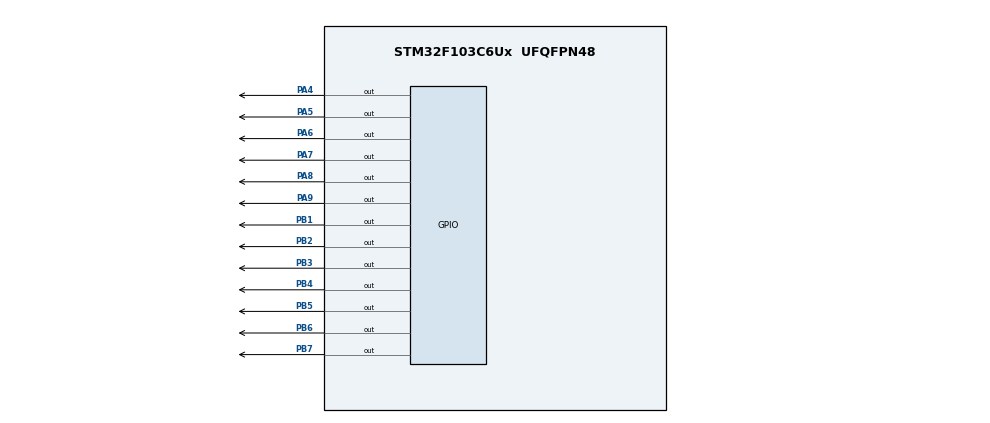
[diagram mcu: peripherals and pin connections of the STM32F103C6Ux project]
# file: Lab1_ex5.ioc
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Mcu.Family=STM32F1
Mcu.Name=STM32F103C6Ux
Mcu.Package=UFQFPN48
NVIC.PriorityGroup=NVIC_PRIORITYGROUP_4
PA4.Signal=GPIO_Output
PA5.Signal=GPIO_Output
PA6.Signal=GPIO_Output
PA7.Signal=GPIO_Output
PA8.Signal=GPIO_Output
PA9.Signal=GPIO_Output
PB1.Signal=GPIO_Output
PB2.Signal=GPIO_Output
PB3.Signal=GPIO_Output
PB4.Signal=GPIO_Output
PB5.Signal=GPIO_Output
PB6.Signal=GPIO_Output
PB7.Signal=GPIO_Output
ProjectManager.HeapSize=0x200
ProjectManager.StackSize=0x400
ProjectManager.TargetToolchain=STM32CubeIDE
RCC.APB1Freq_Value=8000000
RCC.APB2Freq_Value=8000000
VP_SYS_VS_ND.Mode=No_Debug
board=custom

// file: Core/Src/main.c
/* USER CODE BEGIN Header */
/**
  ******************************************************************************
  * @file           : main.c
  * @brief          : Main program body
  ******************************************************************************
  * @attention
  *
  * <h2><center>&copy; Copyright (c) 2022 STMicroelectronics.
  * All rights reserved.</center></h2>
  *
  * This software component is licensed by ST under BSD 3-Clause license,
  * the "License"; You may not use this file except in compliance with the
  * License. You may obtain a copy of the License at:
  *                        opensource.org/licenses/BSD-3-Clause
  *
  ******************************************************************************
  */
/* USER CODE END Header */
#include "main.h"

void SystemClock_Config(void);
static void MX_GPIO_Init(void);

int main(void)
{

  /* MCU Configuration--------------------------------------------------------*/

  /* Reset of all peripherals, Initializes the Flash interface and the Systick. */
  HAL_Init();

  /* Configure the system clock */
  SystemClock_Config();

  /* Initialize all configured peripherals */
  MX_GPIO_Init();

  /* Infinite loop */
  while (1)
  {
	  HAL_GPIO_WritePin (GPIOA , GPIO_PIN_4, GPIO_PIN_RESET );
      HAL_GPIO_WritePin (GPIOA , GPIO_PIN_5, GPIO_PIN_SET );
      HAL_GPIO_WritePin (GPIOA , GPIO_PIN_6 , GPIO_PIN_SET );

   	  HAL_GPIO_WritePin (GPIOA , GPIO_PIN_7, GPIO_PIN_SET );
	  HAL_GPIO_WritePin (GPIOA , GPIO_PIN_8, GPIO_PIN_SET );
	  HAL_GPIO_WritePin (GPIOA , GPIO_PIN_9 , GPIO_PIN_RESET );
		 display7SEG(5);
		  	HAL_Delay(1000);
	     display7SEG(4);
			 HAL_Delay(1000);
		 display7SEG(3);
			HAL_Delay(1000);

	  HAL_GPIO_WritePin (GPIOA , GPIO_PIN_4, GPIO_PIN_RESET );
	  HAL_GPIO_WritePin (GPIOA , GPIO_PIN_5, GPIO_PIN_SET );
	  HAL_GPIO_WritePin (GPIOA , GPIO_PIN_6 , GPIO_PIN_SET );
	  HAL_GPIO_WritePin (GPIOA , GPIO_PIN_7, GPIO_PIN_SET );
	  HAL_GPIO_WritePin (GPIOA , GPIO_PIN_8, GPIO_PIN_RESET );
	  HAL_GPIO_WritePin (GPIOA , GPIO_PIN_9 , GPIO_PIN_SET );
		  	display7SEG(2);
		  	HAL_Delay(1000);
	        display7SEG(1);
	        HAL_Delay(1000);
		  		 	 	//
	  HAL_GPIO_WritePin (GPIOA , GPIO_PIN_7, GPIO_PIN_RESET );
      HAL_GPIO_WritePin (GPIOA , GPIO_PIN_8, GPIO_PIN_SET );
	  HAL_GPIO_WritePin (GPIOA , GPIO_PIN_9 , GPIO_PIN_SET );
	  HAL_GPIO_WritePin (GPIOA , GPIO_PIN_4 , GPIO_PIN_SET );
	  HAL_GPIO_WritePin (GPIOA , GPIO_PIN_5 , GPIO_PIN_SET );
	  HAL_GPIO_WritePin (GPIOA , GPIO_PIN_6 , GPIO_PIN_RESET );
	  	  	 display7SEG(5);
	  	  	HAL_Delay(1000);
	  	  	 display7SEG(4);
		  	HAL_Delay(1000);
			 display7SEG(3);
		  	HAL_Delay(1000);
  	  HAL_GPIO_WritePin (GPIOA , GPIO_PIN_7, GPIO_PIN_RESET );
	  HAL_GPIO_WritePin (GPIOA , GPIO_PIN_8, GPIO_PIN_SET );
	  HAL_GPIO_WritePin (GPIOA , GPIO_PIN_9 , GPIO_PIN_SET );
	  HAL_GPIO_WritePin (GPIOA , GPIO_PIN_4 , GPIO_PIN_SET );
	  HAL_GPIO_WritePin (GPIOA , GPIO_PIN_5 , GPIO_PIN_RESET );
	  HAL_GPIO_WritePin (GPIOA , GPIO_PIN_6 , GPIO_PIN_SET );
	  	  	display7SEG(2);
	  		HAL_Delay(1000);
		 	display7SEG(1);
			HAL_Delay(1000);

  }
}

void SystemClock_Config(void)
{
  RCC_OscInitTypeDef RCC_OscInitStruct = {0};
  RCC_ClkInitTypeDef RCC_ClkInitStruct = {0};

  /** Initializes the RCC Oscillators according to the specified parameters
  * in the RCC_OscInitTypeDef structure.
  */
  RCC_OscInitStruct.OscillatorType = RCC_OSCILLATORTYPE_HSI;
  RCC_OscInitStruct.HSIState = RCC_HSI_ON;
  RCC_OscInitStruct.HSICalibrationValue = RCC_HSICALIBRATION_DEFAULT;
  RCC_OscInitStruct.PLL.PLLState = RCC_PLL_NONE;
  if (HAL_RCC_OscConfig(&RCC_OscInitStruct) != HAL_OK)
  {
    Error_Handler();
  }
  /** Initializes the CPU, AHB and APB buses clocks
  */
  RCC_ClkInitStruct.ClockType = RCC_CLOCKTYPE_HCLK|RCC_CLOCKTYPE_SYSCLK
                              |RCC_CLOCKTYPE_PCLK1|RCC_CLOCKTYPE_PCLK2;
  RCC_ClkInitStruct.SYSCLKSource = RCC_SYSCLKSOURCE_HSI;
  RCC_ClkInitStruct.AHBCLKDivider = RCC_SYSCLK_DIV1;
  RCC_ClkInitStruct.APB1CLKDivider = RCC_HCLK_DIV1;
  RCC_ClkInitStruct.APB2CLKDivider = RCC_HCLK_DIV1;

  if (HAL_RCC_ClockConfig(&RCC_ClkInitStruct, FLASH_LATENCY_0) != HAL_OK)
  {
    Error_Handler();
  }
}

static void MX_GPIO_Init(void)
{
  GPIO_InitTypeDef GPIO_InitStruct = {0};

  /* GPIO Ports Clock Enable */
  __HAL_RCC_GPIOA_CLK_ENABLE();
  __HAL_RCC_GPIOB_CLK_ENABLE();

  /*Configure GPIO pin Output Level */
  HAL_GPIO_WritePin(GPIOA, GPIO_PIN_4|GPIO_PIN_5|GPIO_PIN_6|GPIO_PIN_7
                          |GPIO_PIN_8|GPIO_PIN_9, GPIO_PIN_RESET);

  /*Configure GPIO pin Output Level */
  HAL_GPIO_WritePin(GPIOB, GPIO_PIN_1|GPIO_PIN_2|GPIO_PIN_3|GPIO_PIN_4
                          |GPIO_PIN_5|GPIO_PIN_6|GPIO_PIN_7, GPIO_PIN_RESET);

  /*Configure GPIO pins : PA4 PA5 PA6 PA7
                           PA8 PA9 */
  GPIO_InitStruct.Pin = GPIO_PIN_4|GPIO_PIN_5|GPIO_PIN_6|GPIO_PIN_7
                          |GPIO_PIN_8|GPIO_PIN_9;
  GPIO_InitStruct.Mode = GPIO_MODE_OUTPUT_PP;
  GPIO_InitStruct.Pull = GPIO_NOPULL;
  GPIO_InitStruct.Speed = GPIO_SPEED_FREQ_LOW;
  HAL_GPIO_Init(GPIOA, &GPIO_InitStruct);

  /*Configure GPIO pins : PB1 PB2 PB3 PB4
                           PB5 PB6 PB7 */
  GPIO_InitStruct.Pin = GPIO_PIN_1|GPIO_PIN_2|GPIO_PIN_3|GPIO_PIN_4
                          |GPIO_PIN_5|GPIO_PIN_6|GPIO_PIN_7;
  GPIO_InitStruct.Mode = GPIO_MODE_OUTPUT_PP;
  GPIO_InitStruct.Pull = GPIO_NOPULL;
  GPIO_InitStruct.Speed = GPIO_SPEED_FREQ_LOW;
  HAL_GPIO_Init(GPIOB, &GPIO_InitStruct);

}

/* USER CODE BEGIN 4 */
void display7SEG (int num){
	switch (num){
	case 0 : {
		 HAL_GPIO_WritePin (GPIOB , GPIO_PIN_1 , GPIO_PIN_RESET );
			  	  HAL_GPIO_WritePin (GPIOB , GPIO_PIN_2 , GPIO_PIN_RESET );
			  	  HAL_GPIO_WritePin (GPIOB , GPIO_PIN_3 , GPIO_PIN_RESET );
			  	  HAL_GPIO_WritePin (GPIOB , GPIO_PIN_4 , GPIO_PIN_RESET );
			  	  HAL_GPIO_WritePin (GPIOB , GPIO_PIN_5 , GPIO_PIN_RESET );
			  	  HAL_GPIO_WritePin (GPIOB , GPIO_PIN_6 , GPIO_PIN_RESET );
			  	  HAL_GPIO_WritePin (GPIOB , GPIO_PIN_7 , GPIO_PIN_SET );
			  	  HAL_Delay(1000);
		break;
	}
	case 1 :{
		  HAL_GPIO_WritePin (GPIOB, GPIO_PIN_1 , GPIO_PIN_SET );
			  	 HAL_GPIO_WritePin (GPIOB , GPIO_PIN_2 , GPIO_PIN_RESET );
			  	 HAL_GPIO_WritePin (GPIOB , GPIO_PIN_3 , GPIO_PIN_RESET );
			  	 HAL_GPIO_WritePin (GPIOB , GPIO_PIN_4 , GPIO_PIN_SET );
			  	 HAL_GPIO_WritePin (GPIOB , GPIO_PIN_5 , GPIO_PIN_SET );
			  	 HAL_GPIO_WritePin (GPIOB , GPIO_PIN_6 , GPIO_PIN_SET );
			  	 HAL_GPIO_WritePin (GPIOB , GPIO_PIN_7 , GPIO_PIN_SET );
			  	 HAL_Delay(1000);
		break;
	}
	case 2  :{ HAL_GPIO_WritePin (GPIOB , GPIO_PIN_1 , GPIO_PIN_RESET );
	  	 HAL_GPIO_WritePin (GPIOB , GPIO_PIN_2 , GPIO_PIN_RESET );
	  	 HAL_GPIO_WritePin (GPIOB , GPIO_PIN_3 , GPIO_PIN_SET );
	  	 HAL_GPIO_WritePin (GPIOB , GPIO_PIN_4 , GPIO_PIN_RESET );
	  	 HAL_GPIO_WritePin (GPIOB , GPIO_PIN_5 , GPIO_PIN_RESET );
	  	 HAL_GPIO_WritePin (GPIOB , GPIO_PIN_6 , GPIO_PIN_SET );
	  	 HAL_GPIO_WritePin (GPIOB , GPIO_PIN_7 , GPIO_PIN_RESET );
	  	 HAL_Delay(1000);
		break;}
	case 3 :{
		 HAL_GPIO_WritePin (GPIOB , GPIO_PIN_1 , GPIO_PIN_RESET );
		  	  	 	 HAL_GPIO_WritePin (GPIOB , GPIO_PIN_2 , GPIO_PIN_RESET );
		  	  	 	 HAL_GPIO_WritePin (GPIOB , GPIO_PIN_3 , GPIO_PIN_RESET );
		  	  	 	 HAL_GPIO_WritePin (GPIOB , GPIO_PIN_4 , GPIO_PIN_RESET );
		  	  	 	 HAL_GPIO_WritePin (GPIOB , GPIO_PIN_5 , GPIO_PIN_SET );
		  	  	 	 HAL_GPIO_WritePin (GPIOB , GPIO_PIN_6 , GPIO_PIN_SET );
		  	  	 	 HAL_GPIO_WritePin (GPIOB , GPIO_PIN_7 , GPIO_PIN_RESET );
		  	  	 	 HAL_Delay(1000);
		break;}
	case 4  :{
		HAL_GPIO_WritePin (GPIOB , GPIO_PIN_1 , GPIO_PIN_SET );
			  	  	 		 	 HAL_GPIO_WritePin (GPIOB , GPIO_PIN_2 , GPIO_PIN_RESET );
			  	  	 		 	 HAL_GPIO_WritePin (GPIOB , GPIO_PIN_3 , GPIO_PIN_RESET );
			  	  	 		 	 HAL_GPIO_WritePin (GPIOB , GPIO_PIN_4 , GPIO_PIN_SET );
			  	  	 		 	 HAL_GPIO_WritePin (GPIOB , GPIO_PIN_5 , GPIO_PIN_SET );
			  	  	 		 	 HAL_GPIO_WritePin (GPIOB , GPIO_PIN_6 , GPIO_PIN_RESET );
			  	  	 		 	 HAL_GPIO_WritePin (GPIOB , GPIO_PIN_7 , GPIO_PIN_RESET );
			  	  	 	HAL_Delay(1000);
		break;}
	case 5  :{
		 HAL_GPIO_WritePin (GPIOB , GPIO_PIN_1 , GPIO_PIN_RESET );
			  	  		 		 	 HAL_GPIO_WritePin (GPIOB , GPIO_PIN_2 , GPIO_PIN_SET );
			  	  		 		 	 HAL_GPIO_WritePin (GPIOB , GPIO_PIN_3 , GPIO_PIN_RESET );
			  	  		 		 	 HAL_GPIO_WritePin (GPIOB , GPIO_PIN_4 , GPIO_PIN_RESET );
			  	  		 		 	 HAL_GPIO_WritePin (GPIOB , GPIO_PIN_5 , GPIO_PIN_SET );
			  	  		 		 	 HAL_GPIO_WritePin (GPIOB , GPIO_PIN_6 , GPIO_PIN_RESET );
			  	  		 		 	 HAL_GPIO_WritePin (GPIOB , GPIO_PIN_7 , GPIO_PIN_RESET );
			  	  		 		 	 HAL_Delay(1000);

		break;}
	case 6  :{
		 HAL_GPIO_WritePin (GPIOB , GPIO_PIN_1 , GPIO_PIN_RESET );
			  	  	 	 HAL_GPIO_WritePin (GPIOB , GPIO_PIN_2 , GPIO_PIN_SET );
			  	  	 	HAL_GPIO_WritePin (GPIOB , GPIO_PIN_3 , GPIO_PIN_RESET );
			  	  	 		 	 HAL_GPIO_WritePin (GPIOB , GPIO_PIN_4 , GPIO_PIN_RESET );
			  	  	 		 	 HAL_GPIO_WritePin (GPIOB , GPIO_PIN_5 , GPIO_PIN_RESET );
			  	  	 		 	 HAL_GPIO_WritePin (GPIOB , GPIO_PIN_6 , GPIO_PIN_RESET );
			  	  	 		 	 HAL_GPIO_WritePin (GPIOB , GPIO_PIN_7 , GPIO_PIN_RESET );
			  	  	 		 	 HAL_Delay(1000);
		break;}
	case 7  :{
		 HAL_GPIO_WritePin (GPIOB , GPIO_PIN_1 , GPIO_PIN_RESET );
			  	  	 			 	 HAL_GPIO_WritePin (GPIOB , GPIO_PIN_2 , GPIO_PIN_RESET );
			  	  	 			 	 HAL_GPIO_WritePin (GPIOB , GPIO_PIN_3 , GPIO_PIN_RESET );
			  	  	 			 	 HAL_GPIO_WritePin (GPIOB , GPIO_PIN_4 , GPIO_PIN_SET );
			  	  	 			 	 HAL_GPIO_WritePin (GPIOB , GPIO_PIN_5 , GPIO_PIN_SET );
			  	  	 			 	 HAL_GPIO_WritePin (GPIOB , GPIO_PIN_6 , GPIO_PIN_SET );
			  	  	 			 	 HAL_GPIO_WritePin (GPIOB , GPIO_PIN_7 , GPIO_PIN_SET );
			  	  	 			 	 HAL_Delay(1000);
		break;}
	case 8  :{
		 HAL_GPIO_WritePin (GPIOB , GPIO_PIN_1 , GPIO_PIN_RESET );
			  	  	 				 	 HAL_GPIO_WritePin (GPIOB , GPIO_PIN_2 , GPIO_PIN_RESET );
			  	  	 				 	 HAL_GPIO_WritePin (GPIOB , GPIO_PIN_3 , GPIO_PIN_RESET );
			  	  	 				 	 HAL_GPIO_WritePin (GPIOB , GPIO_PIN_4 , GPIO_PIN_RESET );
			  	  	 				 	 HAL_GPIO_WritePin (GPIOB , GPIO_PIN_5 , GPIO_PIN_RESET );
			  	  	 				 	 HAL_GPIO_WritePin (GPIOB , GPIO_PIN_6 , GPIO_PIN_RESET );
			  	  	 				 	 HAL_GPIO_WritePin (GPIOB , GPIO_PIN_7 , GPIO_PIN_RESET );
			  	  	 				 	 HAL_Delay(1000);
		break;}
	case 9 :{
		 HAL_GPIO_WritePin (GPIOB , GPIO_PIN_1 , GPIO_PIN_RESET );
			  	  	 					 	 HAL_GPIO_WritePin (GPIOB , GPIO_PIN_2 , GPIO_PIN_RESET );
			  	  	 					 	 HAL_GPIO_WritePin (GPIOB , GPIO_PIN_3 , GPIO_PIN_RESET );
			  	  	 					 	 HAL_GPIO_WritePin (GPIOB , GPIO_PIN_4 , GPIO_PIN_SET );
			  	  	 					 	 HAL_GPIO_WritePin (GPIOB , GPIO_PIN_5 , GPIO_PIN_SET );
			  	  	 					 	 HAL_GPIO_WritePin (GPIOB , GPIO_PIN_6 , GPIO_PIN_RESET );
			  	  	 					 	 HAL_GPIO_WritePin (GPIOB , GPIO_PIN_7 , GPIO_PIN_RESET );
			  	  	 					 	 HAL_Delay(1000);

			  	  	 					 break;}
	default :{break;}

	}
}
/* USER CODE END 4 */

void Error_Handler(void)
{
  __disable_irq();
  while (1)
  {
  }
}

/************************ (C) COPYRIGHT STMicroelectronics *****END OF FILE****/
